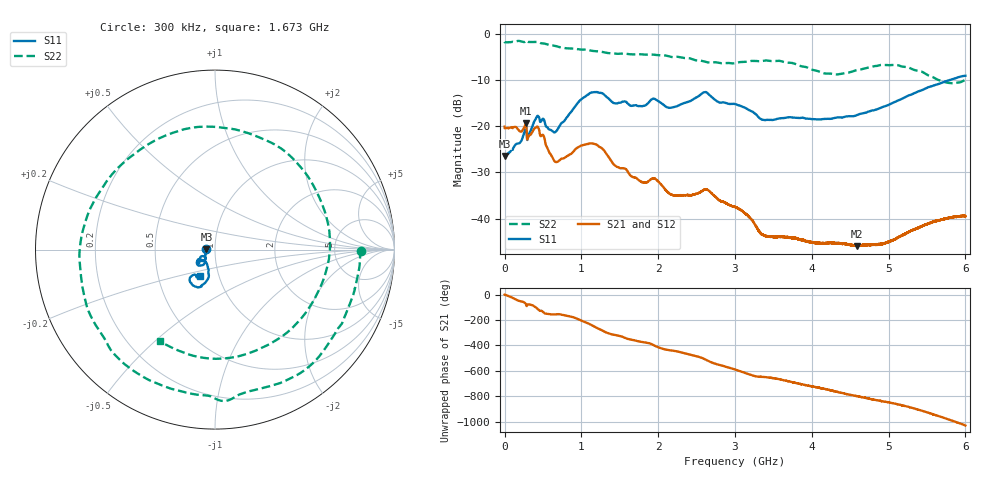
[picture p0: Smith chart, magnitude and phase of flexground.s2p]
!  8/6/2020  03:22:35
! Ref Plane: 0.000 mm
# MHZ S MA R  50
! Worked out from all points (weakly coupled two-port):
!   10001 points, 300 kHz to 6 GHz, reference 50 ohm
!   highest |S21| = -19.39 dB at 276.9 MHz (marker M1); lowest = -45.9 dB at 4.586 GHz (marker M2)
!   lowest |S11| = -26.4 dB at 300 kHz (marker M3), VSWR 1.10, Z = 45.5 + j0.0576 ohm
!   |S11| at or under -10 dB: start of sweep to 5.8 GHz
!   |S22| runs from -10.7 to -1.5 dB; largest |S21 - S12| = 0.0026
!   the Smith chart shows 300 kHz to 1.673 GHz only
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0.3  0.04763 179.2  0.09893 -1.0  0.09637 -1.0  0.815 -0.5
276.8862  0.09999 -142.7  0.1073 -75.8  0.1075 -76.0  0.8299 -82.5
605.0698  0.09083 -136.6  0.04886 -155.6  0.04895 -155.8  0.7544 -179.5
823.4588  0.1283 -106.3  0.04792 -168.1  0.04805 -168.2  0.6938 120.3
1000.45  0.196 -107.1  0.0618 155.3  0.06187 155.3  0.6734 71.5
1253.037  0.2297 -126.0  0.0588 83.3  0.05889 83.2  0.6397 -1.0
1539.223  0.1845 -122.2  0.03523 27.7  0.03523 27.5  0.6083 -83.3
1785.211  0.1644 -113.4  0.02499 -12.5  0.02502 -12.4  0.5986 -151.3
2000.6  0.1866 -115.3  0.0253 -53.8  0.02534 -53.9  0.5847 151.2
2259.187  0.1668 -99.1  0.01792 -87.9  0.01795 -88.0  0.5619 83.2
2539.973  0.2152 -93.0  0.01919 -131.4  0.0192 -131.3  0.5122 6.0
2778.161  0.1834 -104.2  0.01633 170.2  0.01635 170.2  0.4861 -63.5
3000.15  0.1735 -98.3  0.01337 131.1  0.01339 131.4  0.4791 -129.1
3240.738  0.1411 -97.0  0.009189 82.5  0.009177 82.5  0.5092 165.8
3531.124  0.1185 -71.2  0.006316 60.1  0.006363 60.0  0.5071 93.1
4000.3  0.1194 -47.8  0.005556 -1.1  0.005531 -0.3  0.4087 -28.1
4252.287  0.1205 -32.2  0.005483 -32.6  0.005517 -32.7  0.3693 -106.7
4586.471  0.1321 -13.7  0.005049 -77.7  0.005141 -78.1  0.4038 150.9
5000.45  0.1701 4.8  0.005656 -126.8  0.005613 -126.7  0.4566 48.4
5249.438  0.2127 11.0  0.007121 -160.3  0.007079 -160.4  0.4336 -8.7
5518.824  0.264 11.9  0.008868 151.8  0.008923 151.8  0.3541 -77.7
6000  0.3513 0.5  0.01063 52.3  0.01067 52.4  0.3175 124.5
